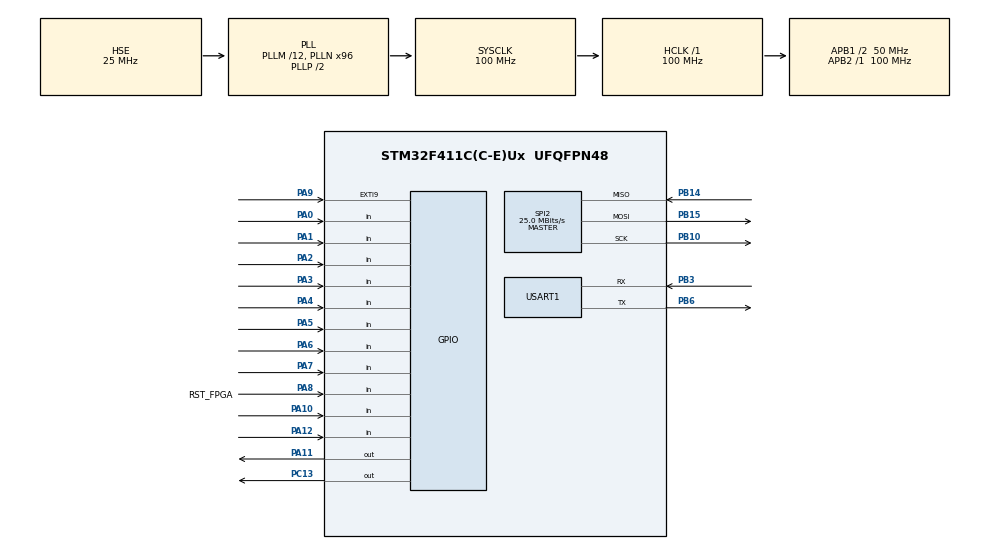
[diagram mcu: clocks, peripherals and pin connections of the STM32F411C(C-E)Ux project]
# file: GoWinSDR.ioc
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Mcu.Family=STM32F4
Mcu.Name=STM32F411C(C-E)Ux
Mcu.Package=UFQFPN48
NVIC.EXTI9_5_IRQn=true\:4\:0\:true\:false\:true\:true\:true\:true
NVIC.PriorityGroup=NVIC_PRIORITYGROUP_4
NVIC.TIM1_UP_TIM10_IRQn=true\:4\:0\:true\:false\:true\:true\:true\:true
PA0-WKUP.Signal=GPIO_Input
PA1.Signal=GPIO_Input
PA10.Signal=GPIO_Input
PA11.Signal=GPIO_Output
PA12.Signal=GPIO_Input
PA13.Mode=Serial_Wire
PA13.Signal=SYS_JTMS-SWDIO
PA14.Mode=Serial_Wire
PA14.Signal=SYS_JTCK-SWCLK
PA2.Signal=GPIO_Input
PA3.Signal=GPIO_Input
PA4.Signal=GPIO_Input
PA5.Signal=GPIO_Input
PA6.Signal=GPIO_Input
PA7.Signal=GPIO_Input
PA8.GPIO_Label=RST_FPGA
PA8.GPIO_PuPd=GPIO_PULLDOWN
PA8.Signal=GPIO_Input
PA9.GPIO_ModeDefaultEXTI=GPIO_MODE_IT_RISING_FALLING
PA9.GPIO_PuPd=GPIO_PULLDOWN
PA9.Signal=GPXTI9
PB10.Mode=Full_Duplex_Master
PB10.Signal=SPI2_SCK
PB14.Mode=Full_Duplex_Master
PB14.Signal=SPI2_MISO
PB15.Mode=Full_Duplex_Master
PB15.Signal=SPI2_MOSI
PB3.Mode=Asynchronous
PB3.Signal=USART1_RX
PB6.Mode=Asynchronous
PB6.Signal=USART1_TX
PC13-ANTI_TAMP.Signal=GPIO_Output
PH0\ -\ OSC_IN.Mode=HSE-External-Oscillator
PH0\ -\ OSC_IN.Signal=RCC_OSC_IN
PH1\ -\ OSC_OUT.Mode=HSE-External-Oscillator
PH1\ -\ OSC_OUT.Signal=RCC_OSC_OUT
ProjectManager.HeapSize=0x1000
ProjectManager.StackSize=0x400
ProjectManager.TargetToolchain=MDK-ARM V5.32
RCC.48MHZClocksFreq_Value=50000000
RCC.AHBFreq_Value=100000000
RCC.APB1CLKDivider=RCC_HCLK_DIV2
RCC.APB1Freq_Value=50000000
RCC.APB1TimFreq_Value=100000000
RCC.APB2Freq_Value=100000000
RCC.APB2TimFreq_Value=100000000
RCC.CortexFreq_Value=100000000
RCC.HCLKFreq_Value=100000000
RCC.HSE_VALUE=25000000
RCC.HSI_VALUE=16000000
RCC.LSE_VALUE=32768
RCC.PLLM=12
RCC.PLLN=96
RCC.PLLSourceVirtual=RCC_PLLSOURCE_HSE
RCC.SYSCLKFreq_VALUE=100000000
RCC.SYSCLKSource=RCC_SYSCLKSOURCE_PLLCLK
RCC.VCOOutputFreq_Value=200000000
SPI2.CalculateBaudRate=25.0 MBits/s
SPI2.Direction=SPI_DIRECTION_2LINES
SPI2.Mode=SPI_MODE_MASTER
SPI2.VirtualType=VM_MASTER
TIM1.Period=1000 - 1
TIM1.Prescaler=80 -1
USART1.VirtualMode=VM_ASYNC
VP_TIM1_VS_ClockSourceINT.Mode=Internal
board=custom

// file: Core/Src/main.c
/* USER CODE BEGIN Header */
/**
  ******************************************************************************
  * @file           : main.c
  * @brief          : Main program body
  ******************************************************************************
  * @attention
  *
  * Copyright (c) 2025 STMicroelectronics.
  * All rights reserved.
  *
  * This software is licensed under terms that can be found in the LICENSE file
  * in the root directory of this software component.
  * If no LICENSE file comes with this software, it is provided AS-IS.
  *
  ******************************************************************************
  */
/* USER CODE END Header */
#include "main.h"
#include "spi.h"
#include "tim.h"
#include "usart.h"
#include "gpio.h"

/* USER CODE BEGIN Includes */
#include "com_debug.h"
#include "config.h"
#include "ad9361_api.h"
#include "parameters.h"
#include "platform.h"
#include "command.h"
#include "console.h"
#include "adc_core.h"
#include "dac_core.h"
#include "softspi.h"
/* USER CODE END Includes */

void SystemClock_Config(void);

/* USER CODE BEGIN 0 */
#ifdef CONSOLE_COMMANDS
extern command	  	cmd_list[];
extern char			cmd_no;
extern cmd_function	cmd_functions[11];
unsigned char		cmd				 =  0;
double				param[5]		 = {0, 0, 0, 0, 0};
char				param_no		 =  0;
int					cmd_type		 = -1;
char				invalid_cmd		 =  0;
char				received_cmd[30] = {0, 0, 0, 0, 0, 0, 0, 0, 0, 0,
										0, 0, 0, 0, 0, 0, 0, 0, 0, 0,
										0, 0, 0, 0, 0, 0, 0, 0, 0, 0};
#endif

AD9361_InitParam default_init_param = {
	/* Device selection */
	ID_AD9361,	// dev_sel
	/* Identification number */
	0,		//id_no
	/* Reference Clock */
	40000000UL,	//reference_clk_rate
	/* Base Configuration */
	0,		//two_rx_two_tx_mode_enable *** adi,2rx-2tx-mode-enable
	1,		//one_rx_one_tx_mode_use_rx_num *** adi,1rx-1tx-mode-use-rx-num
	1,		//one_rx_one_tx_mode_use_tx_num *** adi,1rx-1tx-mode-use-tx-num
	1,		//frequency_division_duplex_mode_enable *** adi,frequency-division-duplex-mode-enable
	0,		//frequency_division_duplex_independent_mode_enable *** adi,frequency-division-duplex-independent-mode-enable
	0,		//tdd_use_dual_synth_mode_enable *** adi,tdd-use-dual-synth-mode-enable
	0,		//tdd_skip_vco_cal_enable *** adi,tdd-skip-vco-cal-enable
	0,		//tx_fastlock_delay_ns *** adi,tx-fastlock-delay-ns
	0,		//rx_fastlock_delay_ns *** adi,rx-fastlock-delay-ns
	0,		//rx_fastlock_pincontrol_enable *** adi,rx-fastlock-pincontrol-enable
	0,		//tx_fastlock_pincontrol_enable *** adi,tx-fastlock-pincontrol-enable
	0,		//external_rx_lo_enable *** adi,external-rx-lo-enable
	0,		//external_tx_lo_enable *** adi,external-tx-lo-enable
	5,		//dc_offset_tracking_update_event_mask *** adi,dc-offset-tracking-update-event-mask
	6,		//dc_offset_attenuation_high_range *** adi,dc-offset-attenuation-high-range
	5,		//dc_offset_attenuation_low_range *** adi,dc-offset-attenuation-low-range
	0x28,	//dc_offset_count_high_range *** adi,dc-offset-count-high-range
	0x32,	//dc_offset_count_low_range *** adi,dc-offset-count-low-range
	0,		//split_gain_table_mode_enable *** adi,split-gain-table-mode-enable
	MAX_SYNTH_FREF,	//trx_synthesizer_target_fref_overwrite_hz *** adi,trx-synthesizer-target-fref-overwrite-hz
	0,		// qec_tracking_slow_mode_enable *** adi,qec-tracking-slow-mode-enable
	/* ENSM Control */
	0,		//ensm_enable_pin_pulse_mode_enable *** adi,ensm-enable-pin-pulse-mode-enable
	0,		//ensm_enable_txnrx_control_enable *** adi,ensm-enable-txnrx-control-enable
	/* LO Control */
	2400000000UL,	//rx_synthesizer_frequency_hz *** adi,rx-synthesizer-frequency-hz
	2400000000UL,	//tx_synthesizer_frequency_hz *** adi,tx-synthesizer-frequency-hz
	/* Rate & BW Control */
	{983040000, 245760000, 122880000, 61440000, 30720000, 30720000},//uint32_t	rx_path_clock_frequencies[6] *** adi,rx-path-clock-frequencies
	{983040000, 245760000, 122880000, 61440000, 30720000, 30720000},//uint32_t	tx_path_clock_frequencies[6] *** adi,tx-path-clock-frequencies
	18000000,//rf_rx_bandwidth_hz *** adi,rf-rx-bandwidth-hz
	18000000,//rf_tx_bandwidth_hz *** adi,rf-tx-bandwidth-hz
	/* RF Port Control */
	0,		//rx_rf_port_input_select *** adi,rx-rf-port-input-select
	0,		//tx_rf_port_input_select *** adi,tx-rf-port-input-select
	/* TX Attenuation Control */
	0,	//tx_attenuation_mdB *** adi,tx-attenuation-mdB
	0,		//update_tx_gain_in_alert_enable *** adi,update-tx-gain-in-alert-enable
	/* Reference Clock Control */
	0,		//xo_disable_use_ext_refclk_enable *** adi,xo-disable-use-ext-refclk-enable
	{8, 5920},	//dcxo_coarse_and_fine_tune[2] *** adi,dcxo-coarse-and-fine-tune
	CLKOUT_DISABLE,	//clk_output_mode_select *** adi,clk-output-mode-select
	/* Gain Control */
	RF_GAIN_SLOWATTACK_AGC,		//gc_rx1_mode *** adi,gc-rx1-mode
	RF_GAIN_SLOWATTACK_AGC,		//gc_rx2_mode *** adi,gc-rx2-mode
	58,		//gc_adc_large_overload_thresh *** adi,gc-adc-large-overload-thresh
	4,		//gc_adc_ovr_sample_size *** adi,gc-adc-ovr-sample-size
	47,		//gc_adc_small_overload_thresh *** adi,gc-adc-small-overload-thresh
	8192,	//gc_dec_pow_measurement_duration *** adi,gc-dec-pow-measurement-duration
	0,		//gc_dig_gain_enable *** adi,gc-dig-gain-enable
	800,	//gc_lmt_overload_high_thresh *** adi,gc-lmt-overload-high-thresh
	704,	//gc_lmt_overload_low_thresh *** adi,gc-lmt-overload-low-thresh
	24,		//gc_low_power_thresh *** adi,gc-low-power-thresh
	15,		//gc_max_dig_gain *** adi,gc-max-dig-gain
	/* Gain MGC Control */
	2,		//mgc_dec_gain_step *** adi,mgc-dec-gain-step
	2,		//mgc_inc_gain_step *** adi,mgc-inc-gain-step
	0,		//mgc_rx1_ctrl_inp_enable *** adi,mgc-rx1-ctrl-inp-enable
	0,		//mgc_rx2_ctrl_inp_enable *** adi,mgc-rx2-ctrl-inp-enable
	0,		//mgc_split_table_ctrl_inp_gain_mode *** adi,mgc-split-table-ctrl-inp-gain-mode
	/* Gain AGC Control */
	10,		//agc_adc_large_overload_exceed_counter *** adi,agc-adc-large-overload-exceed-counter
	2,		//agc_adc_large_overload_inc_steps *** adi,agc-adc-large-overload-inc-steps
	0,		//agc_adc_lmt_small_overload_prevent_gain_inc_enable *** adi,agc-adc-lmt-small-overload-prevent-gain-inc-enable
	10,		//agc_adc_small_overload_exceed_counter *** adi,agc-adc-small-overload-exceed-counter
	4,		//agc_dig_gain_step_size *** adi,agc-dig-gain-step-size
	3,		//agc_dig_saturation_exceed_counter *** adi,agc-dig-saturation-exceed-counter
	1000,	// agc_gain_update_interval_us *** adi,agc-gain-update-interval-us
	0,		//agc_immed_gain_change_if_large_adc_overload_enable *** adi,agc-immed-gain-change-if-large-adc-overload-enable
	0,		//agc_immed_gain_change_if_large_lmt_overload_enable *** adi,agc-immed-gain-change-if-large-lmt-overload-enable
	10,		//agc_inner_thresh_high *** adi,agc-inner-thresh-high
	1,		//agc_inner_thresh_high_dec_steps *** adi,agc-inner-thresh-high-dec-steps
	12,		//agc_inner_thresh_low *** adi,agc-inner-thresh-low
	1,		//agc_inner_thresh_low_inc_steps *** adi,agc-inner-thresh-low-inc-steps
	10,		//agc_lmt_overload_large_exceed_counter *** adi,agc-lmt-overload-large-exceed-counter
	2,		//agc_lmt_overload_large_inc_steps *** adi,agc-lmt-overload-large-inc-steps
	10,		//agc_lmt_overload_small_exceed_counter *** adi,agc-lmt-overload-small-exceed-counter
	5,		//agc_outer_thresh_high *** adi,agc-outer-thresh-high
	2,		//agc_outer_thresh_high_dec_steps *** adi,agc-outer-thresh-high-dec-steps
	18,		//agc_outer_thresh_low *** adi,agc-outer-thresh-low
	2,		//agc_outer_thresh_low_inc_steps *** adi,agc-outer-thresh-low-inc-steps
	1,		//agc_attack_delay_extra_margin_us; *** adi,agc-attack-delay-extra-margin-us
	0,		//agc_sync_for_gain_counter_enable *** adi,agc-sync-for-gain-counter-enable
	/* Fast AGC */
	64,		//fagc_dec_pow_measuremnt_duration ***  adi,fagc-dec-pow-measurement-duration
	260,	//fagc_state_wait_time_ns ***  adi,fagc-state-wait-time-ns
	/* Fast AGC - Low Power */
	0,		//fagc_allow_agc_gain_increase ***  adi,fagc-allow-agc-gain-increase-enable
	5,		//fagc_lp_thresh_increment_time ***  adi,fagc-lp-thresh-increment-time
	1,		//fagc_lp_thresh_increment_steps ***  adi,fagc-lp-thresh-increment-steps
	/* Fast AGC - Lock Level */
	10,		//fagc_lock_level ***  adi,fagc-lock-level
	1,		//fagc_lock_level_lmt_gain_increase_en ***  adi,fagc-lock-level-lmt-gain-increase-enable
	5,		//fagc_lock_level_gain_increase_upper_limit ***  adi,fagc-lock-level-gain-increase-upper-limit
	/* Fast AGC - Peak Detectors and Final Settling */
	1,		//fagc_lpf_final_settling_steps ***  adi,fagc-lpf-final-settling-steps
	1,		//fagc_lmt_final_settling_steps ***  adi,fagc-lmt-final-settling-steps
	3,		//fagc_final_overrange_count ***  adi,fagc-final-overrange-count
	/* Fast AGC - Final Power Test */
	0,		//fagc_gain_increase_after_gain_lock_en ***  adi,fagc-gain-increase-after-gain-lock-enable
	/* Fast AGC - Unlocking the Gain */
	0,		//fagc_gain_index_type_after_exit_rx_mode ***  adi,fagc-gain-index-type-after-exit-rx-mode
	1,		//fagc_use_last_lock_level_for_set_gain_en ***  adi,fagc-use-last-lock-level-for-set-gain-enable
	1,		//fagc_rst_gla_stronger_sig_thresh_exceeded_en ***  adi,fagc-rst-gla-stronger-sig-thresh-exceeded-enable
	5,		//fagc_optimized_gain_offset ***  adi,fagc-optimized-gain-offset
	10,		//fagc_rst_gla_stronger_sig_thresh_above_ll ***  adi,fagc-rst-gla-stronger-sig-thresh-above-ll
	1,		//fagc_rst_gla_engergy_lost_sig_thresh_exceeded_en ***  adi,fagc-rst-gla-engergy-lost-sig-thresh-exceeded-enable
	1,		//fagc_rst_gla_engergy_lost_goto_optim_gain_en ***  adi,fagc-rst-gla-engergy-lost-goto-optim-gain-enable
	10,		//fagc_rst_gla_engergy_lost_sig_thresh_below_ll ***  adi,fagc-rst-gla-engergy-lost-sig-thresh-below-ll
	8,		//fagc_energy_lost_stronger_sig_gain_lock_exit_cnt ***  adi,fagc-energy-lost-stronger-sig-gain-lock-exit-cnt
	1,		//fagc_rst_gla_large_adc_overload_en ***  adi,fagc-rst-gla-large-adc-overload-enable
	1,		//fagc_rst_gla_large_lmt_overload_en ***  adi,fagc-rst-gla-large-lmt-overload-enable
	0,		//fagc_rst_gla_en_agc_pulled_high_en ***  adi,fagc-rst-gla-en-agc-pulled-high-enable
	0,		//fagc_rst_gla_if_en_agc_pulled_high_mode ***  adi,fagc-rst-gla-if-en-agc-pulled-high-mode
	64,		//fagc_power_measurement_duration_in_state5 ***  adi,fagc-power-measurement-duration-in-state5
	/* RSSI Control */
	1,		//rssi_delay *** adi,rssi-delay
	1000,	//rssi_duration *** adi,rssi-duration
	3,		//rssi_restart_mode *** adi,rssi-restart-mode
	0,		//rssi_unit_is_rx_samples_enable *** adi,rssi-unit-is-rx-samples-enable
	1,		//rssi_wait *** adi,rssi-wait
	/* Aux ADC Control */
	256,	//aux_adc_decimation *** adi,aux-adc-decimation
	40000000UL,	//aux_adc_rate *** adi,aux-adc-rate
	/* AuxDAC Control */
	1,		//aux_dac_manual_mode_enable ***  adi,aux-dac-manual-mode-enable
	0,		//aux_dac1_default_value_mV ***  adi,aux-dac1-default-value-mV
	0,		//aux_dac1_active_in_rx_enable ***  adi,aux-dac1-active-in-rx-enable
	0,		//aux_dac1_active_in_tx_enable ***  adi,aux-dac1-active-in-tx-enable
	0,		//aux_dac1_active_in_alert_enable ***  adi,aux-dac1-active-in-alert-enable
	0,		//aux_dac1_rx_delay_us ***  adi,aux-dac1-rx-delay-us
	0,		//aux_dac1_tx_delay_us ***  adi,aux-dac1-tx-delay-us
	0,		//aux_dac2_default_value_mV ***  adi,aux-dac2-default-value-mV
	0,		//aux_dac2_active_in_rx_enable ***  adi,aux-dac2-active-in-rx-enable
	0,		//aux_dac2_active_in_tx_enable ***  adi,aux-dac2-active-in-tx-enable
	0,		//aux_dac2_active_in_alert_enable ***  adi,aux-dac2-active-in-alert-enable
	0,		//aux_dac2_rx_delay_us ***  adi,aux-dac2-rx-delay-us
	0,		//aux_dac2_tx_delay_us ***  adi,aux-dac2-tx-delay-us
	/* Temperature Sensor Control */
	256,	//temp_sense_decimation *** adi,temp-sense-decimation
	1000,	//temp_sense_measurement_interval_ms *** adi,temp-sense-measurement-interval-ms
	0xCE,	//temp_sense_offset_signed *** adi,temp-sense-offset-signed
	1,		//temp_sense_periodic_measurement_enable *** adi,temp-sense-periodic-measurement-enable
	/* Control Out Setup */
	0xFF,	//ctrl_outs_enable_mask *** adi,ctrl-outs-enable-mask
	0,		//ctrl_outs_index *** adi,ctrl-outs-index
	/* External LNA Control */
	0,		//elna_settling_delay_ns *** adi,elna-settling-delay-ns
	0,		//elna_gain_mdB *** adi,elna-gain-mdB
	0,		//elna_bypass_loss_mdB *** adi,elna-bypass-loss-mdB
	0,		//elna_rx1_gpo0_control_enable *** adi,elna-rx1-gpo0-control-enable
	0,		//elna_rx2_gpo1_control_enable *** adi,elna-rx2-gpo1-control-enable
	0,		//elna_gaintable_all_index_enable *** adi,elna-gaintable-all-index-enable
	/* Digital Interface Control */
	0,		//digital_interface_tune_skip_mode *** adi,digital-interface-tune-skip-mode
	0,		//digital_interface_tune_fir_disable *** adi,digital-interface-tune-fir-disable
	1,		//pp_tx_swap_enable *** adi,pp-tx-swap-enable
	1,		//pp_rx_swap_enable *** adi,pp-rx-swap-enable
	0,		//tx_channel_swap_enable *** adi,tx-channel-swap-enable
	0,		//rx_channel_swap_enable *** adi,rx-channel-swap-enable
	1,		//rx_frame_pulse_mode_enable *** adi,rx-frame-pulse-mode-enable
	0,		//two_t_two_r_timing_enable *** adi,2t2r-timing-enable
	0,		//invert_data_bus_enable *** adi,invert-data-bus-enable
	0,		//invert_data_clk_enable *** adi,invert-data-clk-enable
	0,		//fdd_alt_word_order_enable *** adi,fdd-alt-word-order-enable
	0,		//invert_rx_frame_enable *** adi,invert-rx-frame-enable
	0,		//fdd_rx_rate_2tx_enable *** adi,fdd-rx-rate-2tx-enable
	1,		//swap_ports_enable *** adi,swap-ports-enable
	0,		//single_data_rate_enable *** adi,single-data-rate-enable
	0,		//lvds_mode_enable *** adi,lvds-mode-enable
	0,		//half_duplex_mode_enable *** adi,half-duplex-mode-enable
	0,		//single_port_mode_enable *** adi,single-port-mode-enable
	1,		//full_port_enable *** adi,full-port-enable
	0,		//full_duplex_swap_bits_enable *** adi,full-duplex-swap-bits-enable
	0,		//delay_rx_data *** adi,delay-rx-data
	15,		//rx_data_clock_delay *** adi,rx-data-clock-delay
	0,		//rx_data_delay *** adi,rx-data-delay
	7,		//tx_fb_clock_delay *** adi,tx-fb-clock-delay
	15,		//tx_data_delay *** adi,tx-data-delay
	150,	//lvds_bias_mV *** adi,lvds-bias-mV
	1,		//lvds_rx_onchip_termination_enable *** adi,lvds-rx-onchip-termination-enable
	0,		//rx1rx2_phase_inversion_en *** adi,rx1-rx2-phase-inversion-enable
	0xFF,	//lvds_invert1_control *** adi,lvds-invert1-control
	0x0F,	//lvds_invert2_control *** adi,lvds-invert2-control
	/* GPO Control */
	0,		//gpo0_inactive_state_high_enable *** adi,gpo0-inactive-state-high-enable
	0,		//gpo1_inactive_state_high_enable *** adi,gpo1-inactive-state-high-enable
	0,		//gpo2_inactive_state_high_enable *** adi,gpo2-inactive-state-high-enable
	0,		//gpo3_inactive_state_high_enable *** adi,gpo3-inactive-state-high-enable
	0,		//gpo0_slave_rx_enable *** adi,gpo0-slave-rx-enable
	0,		//gpo0_slave_tx_enable *** adi,gpo0-slave-tx-enable
	0,		//gpo1_slave_rx_enable *** adi,gpo1-slave-rx-enable
	0,		//gpo1_slave_tx_enable *** adi,gpo1-slave-tx-enable
	0,		//gpo2_slave_rx_enable *** adi,gpo2-slave-rx-enable
	0,		//gpo2_slave_tx_enable *** adi,gpo2-slave-tx-enable
	0,		//gpo3_slave_rx_enable *** adi,gpo3-slave-rx-enable
	0,		//gpo3_slave_tx_enable *** adi,gpo3-slave-tx-enable
	0,		//gpo0_rx_delay_us *** adi,gpo0-rx-delay-us
	0,		//gpo0_tx_delay_us *** adi,gpo0-tx-delay-us
	0,		//gpo1_rx_delay_us *** adi,gpo1-rx-delay-us
	0,		//gpo1_tx_delay_us *** adi,gpo1-tx-delay-us
	0,		//gpo2_rx_delay_us *** adi,gpo2-rx-delay-us
	0,		//gpo2_tx_delay_us *** adi,gpo2-tx-delay-us
	0,		//gpo3_rx_delay_us *** adi,gpo3-rx-delay-us
	0,		//gpo3_tx_delay_us *** adi,gpo3-tx-delay-us
	/* Tx Monitor Control */
	37000,	//low_high_gain_threshold_mdB *** adi,txmon-low-high-thresh
	0,		//low_gain_dB *** adi,txmon-low-gain
	24,		//high_gain_dB *** adi,txmon-high-gain
	0,		//tx_mon_track_en *** adi,txmon-dc-tracking-enable
	0,		//one_shot_mode_en *** adi,txmon-one-shot-mode-enable
	511,	//tx_mon_delay *** adi,txmon-delay
	8192,	//tx_mon_duration *** adi,txmon-duration
	2,		//tx1_mon_front_end_gain *** adi,txmon-1-front-end-gain
	2,		//tx2_mon_front_end_gain *** adi,txmon-2-front-end-gain
	48,		//tx1_mon_lo_cm *** adi,txmon-1-lo-cm
	48,		//tx2_mon_lo_cm *** adi,txmon-2-lo-cm
	/* GPIO definitions */
	-1,		//gpio_resetb *** reset-gpios
	/* MCS Sync */
	-1,		//gpio_sync *** sync-gpios
	-1,		//gpio_cal_sw1 *** cal-sw1-gpios
	-1,		//gpio_cal_sw2 *** cal-sw2-gpios
	/* External LO clocks */
	NULL,	//(*ad9361_rfpll_ext_recalc_rate)()
	NULL,	//(*ad9361_rfpll_ext_round_rate)()
	NULL	//(*ad9361_rfpll_ext_set_rate)()
};

AD9361_RXFIRConfig rx_fir_config = {	// BPF PASSBAND 3/20 fs to 1/4 fs
	3, // rx
	0, // rx_gain
	1, // rx_dec
	{-4, -6, -37, 35, 186, 86, -284, -315,
	 107, 219, -4, 271, 558, -307, -1182, -356,
	 658, 157, 207, 1648, 790, -2525, -2553, 748,
	 865, -476, 3737, 6560, -3583, -14731, -5278, 14819,
	 14819, -5278, -14731, -3583, 6560, 3737, -476, 865,
	 748, -2553, -2525, 790, 1648, 207, 157, 658,
	 -356, -1182, -307, 558, 271, -4, 219, 107,
	 -315, -284, 86, 186, 35, -37, -6, -4,
	 0, 0, 0, 0, 0, 0, 0, 0,
	 0, 0, 0, 0, 0, 0, 0, 0,
	 0, 0, 0, 0, 0, 0, 0, 0,
	 0, 0, 0, 0, 0, 0, 0, 0,
	 0, 0, 0, 0, 0, 0, 0, 0,
	 0, 0, 0, 0, 0, 0, 0, 0,
	 0, 0, 0, 0, 0, 0, 0, 0,
	 0, 0, 0, 0, 0, 0, 0, 0}, // rx_coef[128]
	 64, // rx_coef_size
	 {0, 0, 0, 0, 0, 0}, //rx_path_clks[6]
	 0 // rx_bandwidth
};

AD9361_TXFIRConfig tx_fir_config = {	// BPF PASSBAND 3/20 fs to 1/4 fs
	3, // tx
	-6, // tx_gain
	1, // tx_int
	{-4, -6, -37, 35, 186, 86, -284, -315,
	 107, 219, -4, 271, 558, -307, -1182, -356,
	 658, 157, 207, 1648, 790, -2525, -2553, 748,
	 865, -476, 3737, 6560, -3583, -14731, -5278, 14819,
	 14819, -5278, -14731, -3583, 6560, 3737, -476, 865,
	 748, -2553, -2525, 790, 1648, 207, 157, 658,
	 -356, -1182, -307, 558, 271, -4, 219, 107,
	 -315, -284, 86, 186, 35, -37, -6, -4,
	 0, 0, 0, 0, 0, 0, 0, 0,
	 0, 0, 0, 0, 0, 0, 0, 0,
	 0, 0, 0, 0, 0, 0, 0, 0,
	 0, 0, 0, 0, 0, 0, 0, 0,
	 0, 0, 0, 0, 0, 0, 0, 0,
	 0, 0, 0, 0, 0, 0, 0, 0,
	 0, 0, 0, 0, 0, 0, 0, 0,
	 0, 0, 0, 0, 0, 0, 0, 0}, // tx_coef[128]
	 64, // tx_coef_size
	 {0, 0, 0, 0, 0, 0}, // tx_path_clks[6]
	 0 // tx_bandwidth
};
struct ad9361_rf_phy *ad9361_phy;
#ifdef FMCOMMS5
struct ad9361_rf_phy *ad9361_phy_b;
#endif
/* USER CODE END 0 */

int main(void)
{

  /* MCU Configuration--------------------------------------------------------*/

  /* Reset of all peripherals, Initializes the Flash interface and the Systick. */
  HAL_Init();

  /* Configure the system clock */
  SystemClock_Config();

  /* Initialize all configured peripherals */
  MX_GPIO_Init();
  MX_USART1_UART_Init();
  MX_SPI2_Init();
  MX_TIM1_Init();
  /* USER CODE BEGIN 2 */
  HAL_GPIO_WritePin(RST_FPGA_GPIO_Port, RST_FPGA_Pin, GPIO_PIN_RESET);
  HAL_GPIO_WritePin(GPIOC, GPIO_PIN_13, GPIO_PIN_RESET);
  HAL_Delay(2000);

  Soft_SPI_Init(SOFT_SPI_MODE1);
  printf("System Start\n");
  HAL_GPIO_WritePin(RST_FPGA_GPIO_Port, RST_FPGA_Pin, GPIO_PIN_SET);
  HAL_GPIO_WritePin(GPIOC, GPIO_PIN_13, GPIO_PIN_SET);

  default_init_param.gpio_resetb = -1;
  default_init_param.gpio_sync = -1;
  default_init_param.gpio_cal_sw1 = -1;
  default_init_param.gpio_cal_sw2 = -1;

  default_init_param.dev_sel = ID_AD9363A;

  int ret = ad9361_init(&ad9361_phy, &default_init_param);
  printf("ad9361_init return: %d\n", ret);

  ad9361_set_tx_fir_config(ad9361_phy, tx_fir_config);
  ad9361_set_rx_fir_config(ad9361_phy, rx_fir_config);

  ad9361_set_en_state_machine_mode(ad9361_phy, ENSM_MODE_FDD);

    uint32_t rx_freq, tx_freq;
	ad9361_get_rx_sampling_freq(ad9361_phy, &rx_freq);
	ad9361_get_tx_sampling_freq(ad9361_phy, &tx_freq);
	printf("\n采样频率:\n");
	printf("  RX: %u Hz (%.2f MSPS)\n", rx_freq, rx_freq/1e6);
	printf("  TX: %u Hz (%.2f MSPS)\n", tx_freq, tx_freq/1e6);

	// 4. LO频率
	uint64_t rx_lo, tx_lo;
	ad9361_get_rx_lo_freq(ad9361_phy, &rx_lo);
	ad9361_get_tx_lo_freq(ad9361_phy, &tx_lo);
	printf("\nLO频率:\n");
	printf("  RX: %llu Hz (%.3f GHz)\n", rx_lo, rx_lo/1e9);
	printf("  TX: %llu Hz (%.3f GHz)\n", tx_lo, tx_lo/1e9);

	// uint8_t tx_ctrl = ad9361_spi_read(ad9361_phy->spi, 0x002);
	// tx_ctrl = (tx_ctrl & 0xFC) | 0x01;  // 设置bit[1:0]=01，使能FIR+1x插�??
	// ad9361_spi_write(ad9361_phy->spi, 0x002, tx_ctrl);
	// printf("TX Ctrl after FIR enable: 0x%02X\n", ad9361_spi_read(ad9361_phy->spi, 0x002));

	// uint32_t ensm_state;
	// ad9361_get_en_state_machine_mode(ad9361_phy, &ensm_state);
	// printf("ENSM状�??: %u (FDD=%d)\n", ensm_state, ENSM_MODE_FDD);

	// ad9361_set_en_state_machine_mode(ad9361_phy, ENSM_MODE_TX);

	// ad9361_get_en_state_machine_mode(ad9361_phy, &ensm_state);
	// printf("ENSM状�??: %u (FDD=%d)\n", ensm_state, ENSM_MODE_FDD);

	int32_t tx_gain = 0;
	ad9361_set_tx_attenuation(ad9361_phy, 0, tx_gain);
	ad9361_set_rx_rf_gain(ad9361_phy, 0, 10);

	ad9361_set_tx_rf_port_output(ad9361_phy, 0);

	// 3. 读取关键状�??
	uint8_t ensm = ad9361_spi_read(ad9361_phy->spi, 0x017);
	uint8_t tx_ctrl = ad9361_spi_read(ad9361_phy->spi, 0x002);
	uint8_t pll = ad9361_spi_read(ad9361_phy->spi, 0x247);

	printf("\n=== Final Status ===\n");
	printf("ENSM (0x017): 0x%02X (TX_ON=%d)\n", ensm, (ensm>>4)&1);
	printf("TX Ctrl (0x002): 0x%02X\n", tx_ctrl);
	printf("PLL Lock (0x247): 0x%02X (TX_PLL=%d)\n", pll, (pll>>1)&1);

	// ad9361_set_rx_rf_port_input(ad9361_phy, 0);
	// ad9361_set_rx_rf_gain(ad9361_phy, 0, 10); // 10 dB

  /* USER CODE END 2 */

  /* Infinite loop */
  /* USER CODE BEGIN WHILE */
  if (ret != 0)
  {
	  console_print("AD9361 Initialization Failed!\n");
	  while(1);
  }

  while (1)
  {
	  console_get_command(received_cmd);
	  invalid_cmd = 0;
	  for (cmd = 0; cmd < cmd_no; cmd++)
	  {
		  param_no = 0;
		  cmd_type = console_check_commands(received_cmd, cmd_list[cmd].name,
											param, &param_no);
		  if (cmd_type == UNKNOWN_CMD)
		  {
			  invalid_cmd++;
		  }
		  else
		  {
			  cmd_list[cmd].function(param, param_no);
		  }
	  }
	  if(invalid_cmd == cmd_no)
	  {
		  console_print("Invalid command!\n");
	  }
    /* USER CODE END WHILE */

    /* USER CODE BEGIN 3 */

	HAL_GPIO_TogglePin(GPIOC, GPIO_PIN_13);
  }
  /* USER CODE END 3 */
}

void SystemClock_Config(void)
{
  RCC_OscInitTypeDef RCC_OscInitStruct = {0};
  RCC_ClkInitTypeDef RCC_ClkInitStruct = {0};

  /** Configure the main internal regulator output voltage
  */
  __HAL_RCC_PWR_CLK_ENABLE();
  __HAL_PWR_VOLTAGESCALING_CONFIG(PWR_REGULATOR_VOLTAGE_SCALE1);

  /** Initializes the RCC Oscillators according to the specified parameters
  * in the RCC_OscInitTypeDef structure.
  */
  RCC_OscInitStruct.OscillatorType = RCC_OSCILLATORTYPE_HSE;
  RCC_OscInitStruct.HSEState = RCC_HSE_ON;
  RCC_OscInitStruct.PLL.PLLState = RCC_PLL_ON;
  RCC_OscInitStruct.PLL.PLLSource = RCC_PLLSOURCE_HSE;
  RCC_OscInitStruct.PLL.PLLM = 12;
  RCC_OscInitStruct.PLL.PLLN = 96;
  RCC_OscInitStruct.PLL.PLLP = RCC_PLLP_DIV2;
  RCC_OscInitStruct.PLL.PLLQ = 4;
  if (HAL_RCC_OscConfig(&RCC_OscInitStruct) != HAL_OK)
  {
    Error_Handler();
  }

  /** Initializes the CPU, AHB and APB buses clocks
  */
  RCC_ClkInitStruct.ClockType = RCC_CLOCKTYPE_HCLK|RCC_CLOCKTYPE_SYSCLK
                              |RCC_CLOCKTYPE_PCLK1|RCC_CLOCKTYPE_PCLK2;
  RCC_ClkInitStruct.SYSCLKSource = RCC_SYSCLKSOURCE_PLLCLK;
  RCC_ClkInitStruct.AHBCLKDivider = RCC_SYSCLK_DIV1;
  RCC_ClkInitStruct.APB1CLKDivider = RCC_HCLK_DIV2;
  RCC_ClkInitStruct.APB2CLKDivider = RCC_HCLK_DIV1;

  if (HAL_RCC_ClockConfig(&RCC_ClkInitStruct, FLASH_LATENCY_3) != HAL_OK)
  {
    Error_Handler();
  }
}

void Error_Handler(void)
{
  __disable_irq();
  while (1)
  {
  }
}
